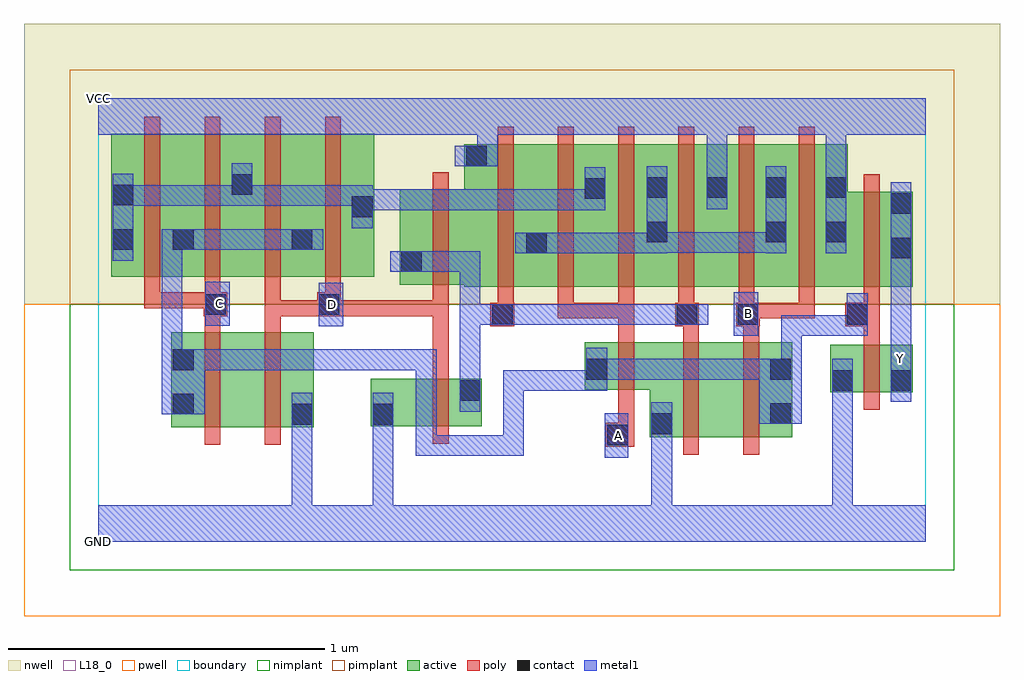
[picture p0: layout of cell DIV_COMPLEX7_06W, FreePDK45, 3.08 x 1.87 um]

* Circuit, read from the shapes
.subckt DIV_COMPLEX7_06W A B C D GND VCC Y
M1 n1 C n2 VSUBS nfet w=0.3u l=0.05u
M2 GND D n1 VSUBS nfet w=0.3u l=0.05u
M3 n3 D GND VSUBS nfet w=0.15u l=0.05u
M4 GND A n2 VSUBS nfet w=0.15u l=0.05u
M5 n4 n3 GND VSUBS nfet w=0.3u l=0.05u
M6 n2 B n4 VSUBS nfet w=0.3u l=0.05u
M7 Y n2 GND VSUBS nfet w=0.15u l=0.05u
M8 n2 C n5 n6 pfet w=0.45u l=0.05u m=2
M9 n2 D n5 n6 pfet w=0.45u l=0.05u m=2
M10 VCC D n3 n6 pfet w=0.3u l=0.05u
M11 n7 n3 VCC n6 pfet w=0.45u l=0.05u m=2
M12 n5 A n7 n6 pfet w=0.45u l=0.05u m=2
M13 n7 B VCC n6 pfet w=0.45u l=0.05u m=2
M14 Y n2 VCC n6 pfet w=0.3u l=0.05u
.ends

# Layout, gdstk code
import gdstk
lib = gdstk.Library(unit=1e-6, precision=1e-09)
def R(c, l, rs):  # rectangles x0, y0, x1, y1
    for r in rs: c.add(gdstk.rectangle(r[:2], r[2:], *l))
def A(c, l, x, y, w, h, nx, ny, dx, dy):  # array of equal rectangles
    R(c, l, [(x+i*dx, y+j*dy, x+i*dx+w, y+j*dy+h) for i in range(nx) for j in range(ny)])
active = (1, 0)
pwell = (2, 0)
nwell = (3, 0)
nimplant = (4, 0)
pimplant = (5, 0)
poly = (9, 0)
contact = (10, 0)
metal1 = (11, 0)
L18_0 = (18, 0)
boundary = (235, 0)

div_complex7_06w = lib.new_cell('DIV_COMPLEX7_06W')
R(div_complex7_06w, active, [(1.74,0.33,1.965,0.63), (1.965,0.33,2.19,0.63), (1.74,0.335,1.815,0.48), (0.23,0.362,0.455,0.662), (0.455,0.362,0.68,0.662), (0.605,0.362,0.68,0.662), (0.86,0.365,0.935,0.515), (0.86,0.365,1.21,0.515), (2.115,0.367,2.19,0.63), (0.23,0.382,0.305,0.662), (1.135,0.44,1.21,0.515), (2.31,0.472,2.385,0.622), (2.31,0.472,2.57,0.622), (2.495,0.472,2.57,0.622), (1.535,0.48,1.61,0.63), (1.535,0.48,1.815,0.63), (1.155,0.805,1.42,1.255), (1.345,0.805,1.605,1.255), (1.345,0.805,1.42,1.07), (1.53,0.805,1.8,1.255), (1.725,0.805,1.99,1.255), (1.725,0.805,1.8,1.2), (1.915,0.805,1.99,1.255), (1.915,0.805,2.175,1.255), (2.1,0.805,2.365,1.255), (2.1,0.805,2.175,1.2), (2.29,0.805,2.57,1.105), (2.29,0.805,2.365,1.255), (2.495,0.805,2.57,1.105), (0.95,0.812,1.23,1.112), (0.04,0.837,0.305,1.287), (0.04,0.837,0.115,1.2), (0.23,0.837,0.49,1.287), (0.415,0.837,0.68,1.287), (0.605,0.837,0.87,1.287), (0.795,0.837,0.87,1.2), (0.95,0.847,1.025,1.07), (0.23,0.857,0.305,1.07), (0.415,0.857,0.49,1.2), (0.605,0.857,0.68,1.07), (1.53,0.857,1.605,1.2), (1.155,0.995,1.23,1.255)])
R(div_complex7_06w, pwell, [(-0.235,-0.235,2.845,0.75)])
R(div_complex7_06w, nwell, [(-0.235,0.75,2.845,1.635)])
R(div_complex7_06w, nimplant, [(-0.09,-0.09,2.7,0.75)])
R(div_complex7_06w, pimplant, [(-0.09,0.75,2.7,1.49)])
A(div_complex7_06w, poly, 1.26, 0.705, 0.05, 0.095, 6, 1, 0.19, 0)
A(div_complex7_06w, poly, 1.26, 0.75, 0.05, 0.56, 6, 1, 0.19, 0)
A(div_complex7_06w, poly, 0.145, 0.782, 0.05, 0.56, 4, 1, 0.19, 0)
R(div_complex7_06w, poly, [(1.845,0.275,1.895,0.685), (2.035,0.275,2.085,0.685), (1.6,0.3,1.69,0.375), (0.335,0.307,0.385,0.717), (0.525,0.307,0.575,0.717), (1.055,0.31,1.105,0.57), (1.64,0.325,1.69,0.475), (2.415,0.417,2.465,0.677), (1.64,0.425,1.69,0.685), (1.055,0.52,1.105,0.762), (2.415,0.627,2.465,0.73), (1.64,0.635,1.69,0.755), (1.845,0.635,1.895,0.73), (2.035,0.635,2.085,0.73), (0.335,0.667,0.385,0.762), (0.525,0.667,0.575,0.762), (1.237,0.68,1.312,0.755), (1.82,0.68,1.895,0.755), (2.012,0.68,2.087,0.755), (2.357,0.68,2.465,0.755), (1.45,0.705,1.5,0.755), (1.45,0.705,1.69,0.755), (1.64,0.705,1.69,0.755), (1.64,0.705,1.69,0.755), (1.64,0.705,1.69,0.755), (2.037,0.705,2.26,0.755), (2.21,0.705,2.26,0.755), (2.21,0.705,2.26,0.755), (2.21,0.705,2.26,0.755), (2.415,0.705,2.465,0.8), (0.332,0.712,0.407,0.787), (0.525,0.712,0.575,0.762), (0.525,0.712,0.575,0.762), (0.525,0.712,0.575,0.762), (0.525,0.712,0.575,0.832), (0.525,0.712,0.74,0.762), (0.69,0.712,0.765,0.787), (0.715,0.712,0.765,0.762), (0.715,0.712,0.765,0.762), (0.715,0.712,1.105,0.762), (1.055,0.712,1.105,0.807), (1.055,0.712,1.105,0.762), (1.055,0.712,1.105,0.762), (1.055,0.712,1.105,0.762), (0.145,0.737,0.195,0.832), (0.145,0.737,0.195,0.787), (0.145,0.737,0.195,0.787), (0.145,0.737,0.195,0.787), (0.145,0.737,0.382,0.787), (0.335,0.737,0.385,0.832), (0.715,0.737,0.765,0.832), (2.415,0.75,2.465,1.16), (1.055,0.757,1.105,1.167)])
R(div_complex7_06w, contact, [(1.605,0.305,1.67,0.37), (1.745,0.34,1.81,0.405), (0.61,0.37,0.675,0.435), (0.865,0.37,0.93,0.435), (2.12,0.372,2.185,0.437), (0.235,0.402,0.3,0.467), (1.14,0.445,1.205,0.51), (2.315,0.477,2.38,0.542), (2.5,0.477,2.565,0.542), (1.54,0.512,1.605,0.577), (2.12,0.512,2.185,0.577), (0.235,0.542,0.3,0.607), (1.242,0.685,1.307,0.75), (1.825,0.685,1.89,0.75), (2.017,0.685,2.082,0.75), (2.362,0.685,2.427,0.75), (0.337,0.717,0.402,0.782), (0.695,0.717,0.76,0.782), (0.955,0.852,1.02,0.917), (2.5,0.895,2.565,0.96), (1.35,0.91,1.415,0.975), (0.045,0.922,0.11,0.987), (0.235,0.922,0.3,0.987), (0.61,0.922,0.675,0.987), (1.73,0.945,1.795,1.01), (2.105,0.945,2.17,1.01), (2.295,0.945,2.36,1.01), (0.8,1.025,0.865,1.09), (2.5,1.035,2.565,1.1), (0.045,1.062,0.11,1.127), (1.535,1.082,1.6,1.147), (1.73,1.085,1.795,1.15), (1.92,1.085,1.985,1.15), (2.105,1.085,2.17,1.15), (2.295,1.085,2.36,1.15), (0.42,1.095,0.485,1.16), (1.16,1.185,1.225,1.25)])
R(div_complex7_06w, metal1, [(0,0,2.61,0.115), (0.61,0.05,0.675,0.115), (0.61,0.05,0.675,0.115), (0.61,0.05,0.675,0.4), (0.865,0.05,0.93,0.115), (0.865,0.05,0.93,0.115), (0.865,0.05,0.93,0.115), (0.865,0.05,0.93,0.115), (0.865,0.05,0.93,0.115), (0.865,0.05,0.93,0.115), (0.865,0.05,0.93,0.4), (1.745,0.05,1.81,0.115), (1.745,0.05,1.81,0.115), (1.745,0.05,1.81,0.115), (1.745,0.05,1.81,0.115), (1.745,0.05,1.81,0.37), (2.315,0.05,2.38,0.115), (2.315,0.05,2.38,0.115), (2.315,0.05,2.38,0.115), (2.315,0.05,2.38,0.115), (2.315,0.05,2.38,0.115), (2.315,0.05,2.38,0.115), (2.315,0.05,2.38,0.507), (1.597,0.265,1.672,0.405), (1.002,0.272,1.067,0.337), (1.002,0.272,1.205,0.337), (1.002,0.272,1.067,0.607), (1.14,0.272,1.205,0.337), (1.14,0.272,1.205,0.337), (1.14,0.272,1.205,0.337), (1.14,0.272,1.342,0.337), (1.277,0.272,1.342,0.337), (1.277,0.272,1.342,0.542), (1.745,0.305,1.81,0.44), (0.61,0.335,0.675,0.4), (0.61,0.335,0.675,0.4), (0.61,0.335,0.675,0.47), (0.865,0.335,0.93,0.47), (2.085,0.372,2.22,0.577), (0.2,0.402,0.335,0.607), (1.14,0.41,1.205,0.545), (2.315,0.442,2.38,0.577), (2.5,0.442,2.565,0.577), (1.277,0.477,1.342,0.542), (1.277,0.477,1.48,0.542), (1.415,0.477,1.48,0.542), (1.415,0.477,1.605,0.542), (1.54,0.477,1.605,0.612), (1.14,0.48,1.205,0.75), (1.54,0.512,1.717,0.577), (1.652,0.512,1.717,0.577), (1.652,0.512,1.795,0.577), (1.73,0.512,1.795,0.577), (1.73,0.512,1.932,0.577), (1.867,0.512,1.932,0.577), (1.867,0.512,1.932,0.577), (1.867,0.512,1.932,0.577), (1.867,0.512,2.15,0.577), (2.085,0.512,2.15,0.577), (2.085,0.512,2.15,0.577), (2.155,0.512,2.22,0.715), (2.5,0.512,2.565,0.577), (2.5,0.512,2.565,0.647), (0.2,0.542,0.265,0.987), (0.27,0.542,0.335,0.607), (0.27,0.542,0.335,0.607), (0.27,0.542,0.502,0.607), (0.437,0.542,0.502,0.607), (0.437,0.542,0.575,0.607), (0.51,0.542,0.575,0.607), (0.51,0.542,0.727,0.607), (0.662,0.542,0.727,0.607), (0.662,0.542,0.727,0.607), (0.662,0.542,0.727,0.607), (0.662,0.542,0.915,0.607), (0.85,0.542,0.915,0.607), (0.85,0.542,0.915,0.607), (0.85,0.542,0.915,0.607), (0.85,0.542,1.067,0.607), (1.002,0.542,1.067,0.607), (2.5,0.582,2.565,0.925), (2.005,0.65,2.082,0.787), (2.155,0.65,2.22,0.715), (2.155,0.65,2.29,0.715), (2.225,0.65,2.29,0.715), (2.225,0.65,2.427,0.715), (2.362,0.65,2.427,0.715), (2.362,0.65,2.427,0.715), (2.362,0.65,2.427,0.785), (0.695,0.68,0.772,0.817), (0.337,0.682,0.415,0.82), (1.14,0.685,1.205,0.75), (1.14,0.685,1.272,0.75), (1.14,0.685,1.205,0.917), (1.207,0.685,1.342,0.75), (1.277,0.685,1.342,0.75), (1.277,0.685,1.342,0.75), (1.277,0.685,1.48,0.75), (1.415,0.685,1.48,0.75), (1.415,0.685,1.657,0.75), (1.592,0.685,1.657,0.75), (1.592,0.685,1.657,0.75), (1.592,0.685,1.657,0.75), (1.592,0.685,1.795,0.75), (1.73,0.685,1.795,0.75), (1.73,0.685,1.855,0.75), (1.79,0.685,1.925,0.75), (0.92,0.852,1.055,0.917), (0.99,0.852,1.055,0.917), (0.99,0.852,1.055,0.917), (0.99,0.852,1.205,0.917), (1.14,0.852,1.205,0.917), (2.5,0.86,2.565,1.135), (0.045,0.887,0.11,1.162), (1.315,0.91,1.45,0.975), (1.385,0.91,1.52,0.975), (1.455,0.91,1.52,0.975), (1.455,0.91,1.657,0.975), (1.592,0.91,1.657,0.975), (1.592,0.91,1.657,0.975), (1.592,0.91,1.657,0.975), (1.592,0.91,1.795,0.975), (1.73,0.91,1.795,1.185), (2.105,0.91,2.17,1.185), (2.295,0.91,2.36,1.185), (1.73,0.912,1.932,0.977), (1.867,0.912,1.932,0.977), (1.867,0.912,1.932,0.977), (1.867,0.912,1.932,0.977), (1.867,0.912,2.152,0.977), (2.087,0.912,2.152,0.977), (2.087,0.912,2.17,0.977), (0.2,0.922,0.265,0.987), (0.2,0.922,0.265,0.987), (0.2,0.922,0.335,0.987), (0.27,0.922,0.335,0.987), (0.27,0.922,0.335,0.987), (0.27,0.922,0.485,0.987), (0.42,0.922,0.485,0.987), (0.42,0.922,0.485,0.987), (0.42,0.922,0.485,0.987), (0.42,0.922,0.64,0.987), (0.575,0.922,0.71,0.987), (0.8,0.99,0.865,1.125), (0.8,1.047,1.052,1.112), (0.987,1.047,1.052,1.112), (0.987,1.047,1.052,1.112), (0.987,1.047,1.052,1.112), (0.987,1.047,1.205,1.112), (1.14,1.047,1.205,1.112), (1.14,1.047,1.205,1.112), (1.14,1.047,1.205,1.112), (1.14,1.047,1.36,1.112), (1.295,1.047,1.36,1.112), (1.295,1.047,1.48,1.112), (1.415,1.047,1.48,1.112), (1.415,1.047,1.6,1.112), (1.535,1.047,1.6,1.182), (1.92,1.05,1.985,1.185), (0.045,1.06,0.11,1.125), (0.045,1.06,0.11,1.125), (0.045,1.06,0.347,1.125), (0.282,1.06,0.347,1.125), (0.282,1.06,0.347,1.125), (0.282,1.06,0.347,1.125), (0.282,1.06,0.485,1.125), (0.42,1.06,0.485,1.125), (0.42,1.06,0.485,1.125), (0.42,1.06,0.485,1.195), (0.42,1.06,0.727,1.125), (0.662,1.06,0.727,1.125), (0.662,1.06,0.727,1.125), (0.662,1.06,0.727,1.125), (0.662,1.06,0.865,1.125), (1.92,1.12,1.985,1.35), (2.295,1.12,2.36,1.35), (1.125,1.185,1.26,1.25), (1.195,1.185,1.26,1.35), (0,1.285,2.61,1.4)])
R(div_complex7_06w, L18_0, [(0,0,2.61,0.115), (0.61,0.05,0.675,0.115), (0.61,0.05,0.675,0.115), (0.61,0.05,0.675,0.4), (0.865,0.05,0.93,0.115), (0.865,0.05,0.93,0.115), (0.865,0.05,0.93,0.115), (0.865,0.05,0.93,0.115), (0.865,0.05,0.93,0.115), (0.865,0.05,0.93,0.115), (0.865,0.05,0.93,0.4), (1.745,0.05,1.81,0.115), (1.745,0.05,1.81,0.115), (1.745,0.05,1.81,0.115), (1.745,0.05,1.81,0.115), (1.745,0.05,1.81,0.37), (2.315,0.05,2.38,0.115), (2.315,0.05,2.38,0.115), (2.315,0.05,2.38,0.115), (2.315,0.05,2.38,0.115), (2.315,0.05,2.38,0.115), (2.315,0.05,2.38,0.115), (2.315,0.05,2.38,0.507), (1.597,0.265,1.672,0.405), (1.607,0.305,1.672,0.37), (1.745,0.305,1.81,0.44), (0.61,0.335,0.675,0.4), (0.61,0.335,0.675,0.4), (0.61,0.335,0.675,0.47), (0.865,0.335,0.93,0.47), (2.315,0.442,2.38,0.577), (2.5,0.442,2.565,0.577), (2.5,0.512,2.565,0.577), (2.5,0.512,2.565,0.647), (2.5,0.547,2.565,0.612), (2.5,0.582,2.565,0.925), (2.005,0.65,2.082,0.787), (0.695,0.68,0.772,0.817), (0.337,0.682,0.415,0.82), (2.017,0.687,2.082,0.752), (0.707,0.717,0.772,0.782), (0.35,0.72,0.415,0.785), (2.5,0.86,2.565,1.135), (2.295,0.91,2.36,1.185), (1.92,1.05,1.985,1.185), (1.92,1.12,1.985,1.35), (2.295,1.12,2.36,1.35), (1.125,1.185,1.26,1.25), (1.195,1.185,1.26,1.35), (0,1.285,2.61,1.4)])
R(div_complex7_06w, boundary, [(0,0,2.61,1.4)])
div_complex7_06w.add(gdstk.Label('A', (1.64,0.337), layer=11, texttype=0))
div_complex7_06w.add(gdstk.Label('B', (2.05,0.72), layer=11, texttype=0))
div_complex7_06w.add(gdstk.Label('C', (0.382,0.752), layer=11, texttype=0))
div_complex7_06w.add(gdstk.Label('D', (0.74,0.75), layer=11, texttype=0))
div_complex7_06w.add(gdstk.Label('Y', (2.532,0.58), layer=11, texttype=0))
div_complex7_06w.add(gdstk.Label('VCC', (0,1.4), layer=11, texttype=0))
div_complex7_06w.add(gdstk.Label('GND', (0,0), layer=11, texttype=0))

lib.write_gds('DIV_COMPLEX7_06W.gds')
